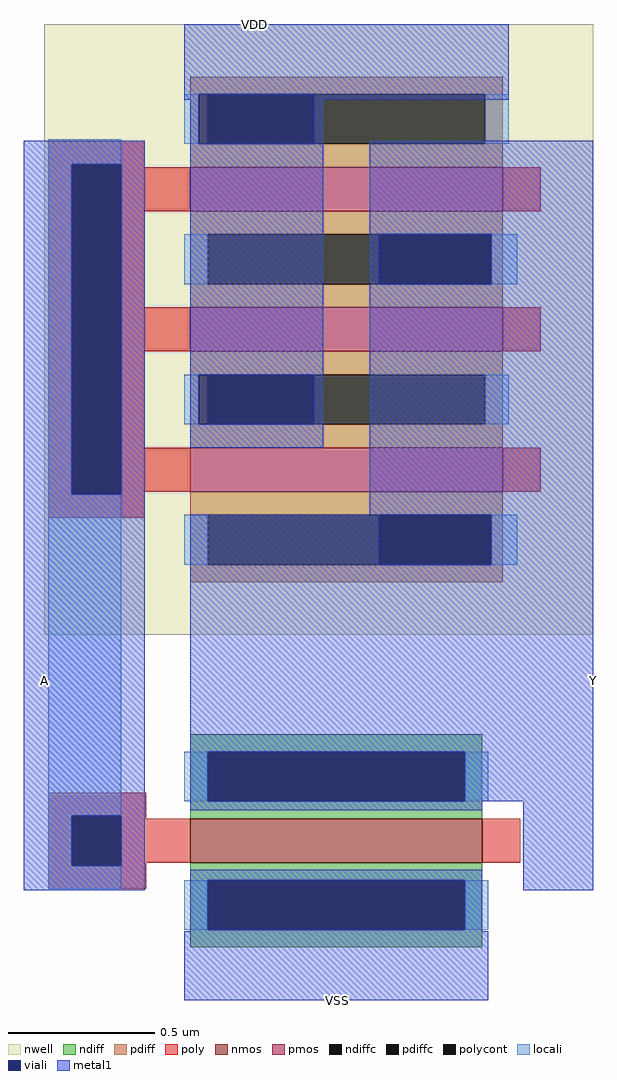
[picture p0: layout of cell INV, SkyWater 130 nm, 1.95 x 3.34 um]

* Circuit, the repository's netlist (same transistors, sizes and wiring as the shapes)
* SPICE3 file created from inv.ext - technology: sky130B

.subckt sky130_fd_pr__nfet_01v8_6H9P4D a_n73_n100# a_15_n100# a_n15_n126# VSUBS
X0 a_15_n100# a_n15_n126# a_n73_n100# VSUBS sky130_fd_pr__nfet_01v8 ad=0.29 pd=2.58 as=0.29 ps=2.58 w=1 l=0.15
.ends

.subckt efepmos_W107-L15-F3 a_n129_n204# a_n173_n107# w_n209_n207# a_n81_n107# VSUBS
X0 a_n81_n107# a_n129_n204# a_n173_n107# w_n209_n207# sky130_fd_pr__pfet_01v8 ad=0.3317 pd=2.76 as=0.17655 ps=1.4 w=1.07 l=0.15
X1 a_n81_n107# a_n129_n204# a_n173_n107# w_n209_n207# sky130_fd_pr__pfet_01v8 ad=0.17655 pd=1.4 as=0.3317 ps=2.76 w=1.07 l=0.15
X2 a_n173_n107# a_n129_n204# a_n81_n107# w_n209_n207# sky130_fd_pr__pfet_01v8 ad=0.17655 pd=1.4 as=0.17655 ps=1.4 w=1.07 l=0.15
.ends

.subckt inv VDD A Y VSS
Xsky130_fd_pr__nfet_01v8_6H9P4D_0 Y VSS A VSUBS sky130_fd_pr__nfet_01v8_6H9P4D
Xefepmos_W107-L15-F3_0 A VDD w_0_366# Y VSUBS efepmos_W107-L15-F3
.ends

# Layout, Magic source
magic
tech sky130B
magscale 1 2
<< nwell >>
rect 0 0 376 418
<< nmos >>
rect 100 -156 300 -126
<< pmos >>
rect 100 290 314 320
rect 100 194 314 224
rect 100 98 314 128
<< ndiff >>
rect 100 -80 300 -68
rect 100 -114 112 -80
rect 288 -114 300 -80
rect 100 -126 300 -114
rect 100 -168 300 -156
rect 100 -202 112 -168
rect 288 -202 300 -168
rect 100 -214 300 -202
<< pdiff >>
rect 100 370 314 382
rect 100 336 112 370
rect 302 336 314 370
rect 100 320 314 336
rect 100 274 314 290
rect 100 240 112 274
rect 306 240 314 274
rect 100 224 314 240
rect 100 178 314 194
rect 100 144 112 178
rect 302 144 314 178
rect 100 128 314 144
rect 100 82 314 98
rect 100 48 112 82
rect 306 48 314 82
rect 100 36 314 48
<< ndiffc >>
rect 112 -114 288 -80
rect 112 -202 288 -168
<< pdiffc >>
rect 112 336 302 370
rect 112 240 306 274
rect 112 144 302 178
rect 112 48 306 82
<< poly >>
rect 3 322 69 338
rect 3 96 19 322
rect 53 320 69 322
rect 53 290 100 320
rect 314 290 340 320
rect 53 224 69 290
rect 53 194 100 224
rect 314 194 340 224
rect 53 128 69 194
rect 53 98 100 128
rect 314 98 340 128
rect 53 96 69 98
rect 3 80 69 96
rect 3 -124 70 -108
rect 3 -158 19 -124
rect 53 -126 70 -124
rect 53 -156 100 -126
rect 300 -156 326 -126
rect 53 -158 70 -156
rect 3 -174 70 -158
<< polycont >>
rect 19 96 53 322
rect 19 -158 53 -124
<< locali >>
rect 3 322 53 339
rect 96 336 106 370
rect 302 336 318 370
rect 3 96 19 322
rect 96 240 112 274
rect 306 240 324 274
rect 96 144 106 178
rect 302 144 318 178
rect 3 -124 53 96
rect 96 48 112 82
rect 306 48 324 82
rect 96 -114 112 -80
rect 288 -114 304 -80
rect 3 -158 19 -124
rect 3 -174 53 -158
rect 96 -202 112 -168
rect 288 -202 304 -168
<< viali >>
rect 106 336 112 370
rect 112 336 185 370
rect 19 96 53 322
rect 229 240 306 274
rect 106 144 112 178
rect 112 144 185 178
rect 229 48 306 82
rect 112 -114 288 -80
rect 19 -158 53 -124
rect 112 -202 288 -168
<< metal1 >>
rect 96 370 318 418
rect 96 366 106 370
rect -14 322 69 338
rect -14 96 19 322
rect 53 96 69 322
rect 100 336 106 366
rect 185 366 318 370
rect 185 336 191 366
rect 100 178 191 336
rect 100 144 106 178
rect 185 144 191 178
rect 100 128 191 144
rect 223 274 376 338
rect 223 240 229 274
rect 306 240 376 274
rect -14 -124 69 96
rect 223 82 376 240
rect 100 48 229 82
rect 306 48 376 82
rect 100 -80 376 48
rect 100 -114 112 -80
rect 288 -114 376 -80
rect 100 -120 300 -114
rect -14 -158 19 -124
rect 53 -158 69 -124
rect -14 -175 69 -158
rect 100 -168 300 -161
rect 100 -202 112 -168
rect 288 -202 300 -168
rect 328 -175 376 -114
rect 100 -203 300 -202
rect 96 -250 304 -203
<< labels >>
rlabel metal1 376 -31 376 -31 3 Y
port 3 e
rlabel metal1 0 -31 0 -31 7 A
port 2 e
rlabel metal1 144 418 144 418 1 VDD
port 1 n
rlabel metal1 201 -250 201 -250 5 VSS
port 4 s
<< end >>
